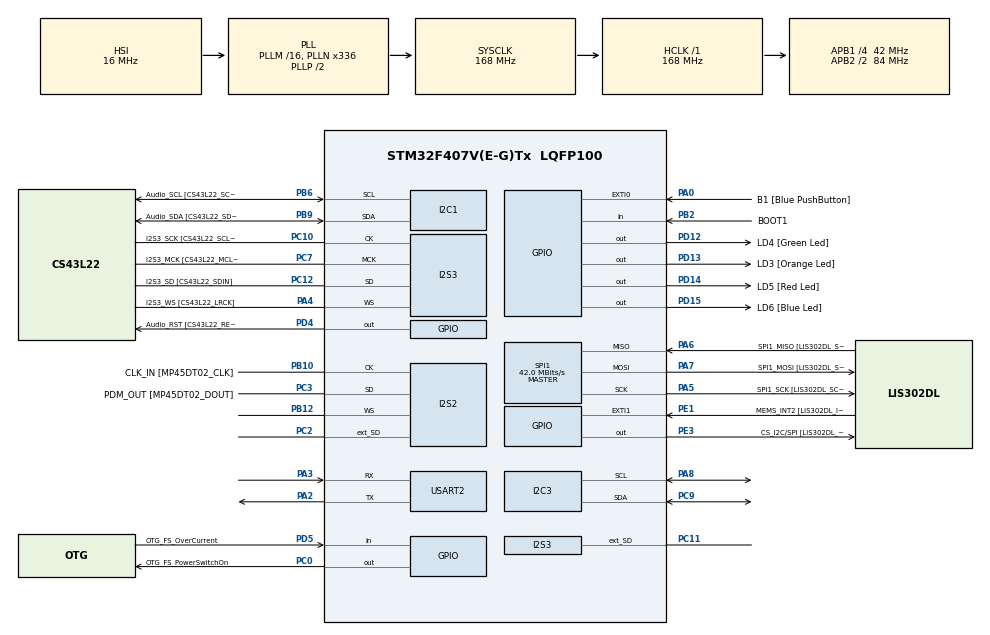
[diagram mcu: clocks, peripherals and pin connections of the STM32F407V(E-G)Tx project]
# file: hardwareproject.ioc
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Dma.Request0=SPI3_TX
Dma.Request1=SPI2_RX
Dma.SPI2_RX.1.Direction=DMA_PERIPH_TO_MEMORY
Dma.SPI2_RX.1.FIFOMode=DMA_FIFOMODE_ENABLE
Dma.SPI2_RX.1.FIFOThreshold=DMA_FIFO_THRESHOLD_FULL
Dma.SPI2_RX.1.Instance=DMA1_Stream3
Dma.SPI2_RX.1.MemBurst=DMA_MBURST_SINGLE
Dma.SPI2_RX.1.MemDataAlignment=DMA_MDATAALIGN_HALFWORD
Dma.SPI2_RX.1.MemInc=DMA_MINC_ENABLE
Dma.SPI2_RX.1.Mode=DMA_NORMAL
Dma.SPI2_RX.1.PeriphBurst=DMA_PBURST_SINGLE
Dma.SPI2_RX.1.PeriphDataAlignment=DMA_PDATAALIGN_HALFWORD
Dma.SPI2_RX.1.PeriphInc=DMA_PINC_DISABLE
Dma.SPI2_RX.1.Priority=DMA_PRIORITY_LOW
Dma.SPI3_TX.0.Direction=DMA_MEMORY_TO_PERIPH
Dma.SPI3_TX.0.FIFOMode=DMA_FIFOMODE_ENABLE
Dma.SPI3_TX.0.FIFOThreshold=DMA_FIFO_THRESHOLD_FULL
Dma.SPI3_TX.0.Instance=DMA1_Stream5
Dma.SPI3_TX.0.MemBurst=DMA_MBURST_INC8
Dma.SPI3_TX.0.MemDataAlignment=DMA_MDATAALIGN_HALFWORD
Dma.SPI3_TX.0.MemInc=DMA_MINC_ENABLE
Dma.SPI3_TX.0.Mode=DMA_NORMAL
Dma.SPI3_TX.0.PeriphBurst=DMA_PBURST_SINGLE
Dma.SPI3_TX.0.PeriphDataAlignment=DMA_PDATAALIGN_HALFWORD
Dma.SPI3_TX.0.PeriphInc=DMA_PINC_DISABLE
Dma.SPI3_TX.0.Priority=DMA_PRIORITY_LOW
I2S2.AudioFreq=I2S_AUDIOFREQ_32K
I2S2.ErrorAudioFreq=-0.01 %
I2S2.FullDuplexMode=I2S_FULLDUPLEXMODE_ENABLE
I2S2.Mode=I2S_MODE_MASTER_RX
I2S2.RealAudioFreq=31.994 KHz
I2S2.Standard=I2S_STANDARD_LSB
I2S3.AudioFreq=I2S_AUDIOFREQ_16K
I2S3.ErrorAudioFreq=-0.01 %
I2S3.FullDuplexMode=I2S_FULLDUPLEXMODE_ENABLE
I2S3.RealAudioFreq=15.997 KHz
I2S3.Standard=I2S_STANDARD_LSB
Mcu.Family=STM32F4
Mcu.Name=STM32F407V(E-G)Tx
Mcu.Package=LQFP100
NVIC.DMA1_Stream3_IRQn=true\:0\:0\:false\:false\:true
NVIC.DMA1_Stream5_IRQn=true\:0\:0\:false\:false\:true
NVIC.PriorityGroup=NVIC_PRIORITYGROUP_0
NVIC.SPI2_IRQn=true\:0\:0\:false\:false\:true
NVIC.USART2_IRQn=true\:0\:0\:false\:false\:true
PA0-WKUP.GPIO_Label=B1 [Blue PushButton]
PA0-WKUP.Signal=GPXTI0
PA10.GPIO_Label=OTG_FS_ID
PA10.GPIO_Mode=GPIO_MODE_AF_PP
PA10.GPIO_PuPd=GPIO_NOPULL
PA10.GPIO_Speed=GPIO_SPEED_FREQ_LOW
PA10.Signal=USB_OTG_FS_ID
PA11.GPIO_Label=OTG_FS_DM
PA11.GPIO_Mode=GPIO_MODE_AF_PP
PA11.GPIO_PuPd=GPIO_NOPULL
PA11.GPIO_Speed=GPIO_SPEED_FREQ_LOW
PA11.Signal=USB_OTG_FS_DM
PA12.GPIO_Label=OTG_FS_DP
PA12.GPIO_Mode=GPIO_MODE_AF_PP
PA12.GPIO_PuPd=GPIO_NOPULL
PA12.GPIO_Speed=GPIO_SPEED_FREQ_LOW
PA12.Signal=USB_OTG_FS_DP
PA13.GPIO_Label=SWDIO
PA13.Signal=SYS_JTMS-SWDIO
PA14.GPIO_Label=SWCLK
PA14.Signal=SYS_JTCK-SWCLK
PA2.Mode=Asynchronous
PA2.Signal=USART2_TX
PA3.Mode=Asynchronous
PA3.Signal=USART2_RX
PA4.GPIO_Label=I2S3_WS [CS43L22_LRCK]
PA4.GPIO_Mode=GPIO_MODE_AF_PP
PA4.GPIO_PuPd=GPIO_NOPULL
PA4.GPIO_Speed=GPIO_SPEED_FREQ_LOW
PA4.Mode=Full_Duplex_Master
PA4.Signal=I2S3_WS
PA5.GPIO_Label=SPI1_SCK [LIS302DL_SCL/SPC]
PA5.GPIO_Mode=GPIO_MODE_AF_PP
PA5.GPIO_PuPd=GPIO_NOPULL
PA5.GPIO_Speed=GPIO_SPEED_FREQ_LOW
PA5.Mode=Full_Duplex_Master
PA5.Signal=SPI1_SCK
PA6.GPIO_Label=SPI1_MISO [LIS302DL_SDO]
PA6.GPIO_Mode=GPIO_MODE_AF_PP
PA6.GPIO_PuPd=GPIO_NOPULL
PA6.GPIO_Speed=GPIO_SPEED_FREQ_LOW
PA6.Mode=Full_Duplex_Master
PA6.Signal=SPI1_MISO
PA7.GPIO_Label=SPI1_MOSI [LIS302DL_SDA/SDI/SDO]
PA7.GPIO_Mode=GPIO_MODE_AF_PP
PA7.GPIO_PuPd=GPIO_NOPULL
PA7.GPIO_Speed=GPIO_SPEED_FREQ_LOW
PA7.Mode=Full_Duplex_Master
PA7.Signal=SPI1_MOSI
PA8.Mode=I2C
PA8.Signal=I2C3_SCL
PA9.GPIO_Label=VBUS_FS
PA9.GPIO_Mode=GPIO_MODE_INPUT
PA9.GPIO_PuPd=GPIO_NOPULL
PA9.Signal=USB_OTG_FS_VBUS
PB10.GPIO_Label=CLK_IN [MP45DT02_CLK]
PB10.GPIO_Mode=GPIO_MODE_AF_PP
PB10.GPIO_PuPd=GPIO_NOPULL
PB10.GPIO_Speed=GPIO_SPEED_FREQ_LOW
PB10.Mode=Full_Duplex_Master
PB10.Signal=I2S2_CK
PB12.Mode=Full_Duplex_Master
PB12.Signal=I2S2_WS
PB2.GPIO_Label=BOOT1
PB2.GPIO_Mode=GPIO_MODE_INPUT
PB2.GPIO_PuPd=GPIO_NOPULL
PB2.Signal=GPIO_Input
PB3.GPIO_Label=SWO
PB3.Signal=SYS_JTDO-SWO
PB6.GPIO_Label=Audio_SCL [CS43L22_SCL]
PB6.GPIO_Mode=GPIO_MODE_AF_OD
PB6.GPIO_PuPd=GPIO_NOPULL
PB6.GPIO_Speed=GPIO_SPEED_FREQ_LOW
PB6.Mode=I2C
PB6.Signal=I2C1_SCL
PB9.GPIO_Label=Audio_SDA [CS43L22_SDA]
PB9.GPIO_Mode=GPIO_MODE_AF_OD
PB9.GPIO_PuPd=GPIO_NOPULL
PB9.GPIO_Speed=GPIO_SPEED_FREQ_LOW
PB9.Mode=I2C
PB9.Signal=I2C1_SDA
PC0.GPIO_Label=OTG_FS_PowerSwitchOn
PC0.GPIO_PuPd=GPIO_NOPULL
PC0.GPIO_Speed=GPIO_SPEED_FREQ_LOW
PC0.PinState=GPIO_PIN_SET
PC0.Signal=GPIO_Output
PC10.GPIO_Label=I2S3_SCK [CS43L22_SCLK]
PC10.GPIO_Mode=GPIO_MODE_AF_PP
PC10.GPIO_PuPd=GPIO_NOPULL
PC10.GPIO_Speed=GPIO_SPEED_FREQ_LOW
PC10.Mode=Full_Duplex_Master
PC10.Signal=I2S3_CK
PC11.Mode=Full_Duplex_Master
PC11.Signal=I2S3_ext_SD
PC12.GPIO_Label=I2S3_SD [CS43L22_SDIN]
PC12.GPIO_Mode=GPIO_MODE_AF_PP
PC12.GPIO_PuPd=GPIO_NOPULL
PC12.GPIO_Speed=GPIO_SPEED_FREQ_LOW
PC12.Mode=Full_Duplex_Master
PC12.Signal=I2S3_SD
PC14-OSC32_IN.GPIO_Label=PC14-OSC32_IN
PC14-OSC32_IN.Signal=RCC_OSC32_IN
PC15-OSC32_OUT.GPIO_Label=PC15-OSC32_OUT
PC15-OSC32_OUT.Signal=RCC_OSC32_OUT
PC2.Mode=Full_Duplex_Master
PC2.Signal=I2S2_ext_SD
PC3.GPIO_Label=PDM_OUT [MP45DT02_DOUT]
PC3.GPIO_Mode=GPIO_MODE_AF_PP
PC3.GPIO_PuPd=GPIO_NOPULL
PC3.GPIO_Speed=GPIO_SPEED_FREQ_LOW
PC3.Mode=Full_Duplex_Master
PC3.Signal=I2S2_SD
PC7.GPIO_Label=I2S3_MCK [CS43L22_MCLK]
PC7.GPIO_Mode=GPIO_MODE_AF_PP
PC7.GPIO_PuPd=GPIO_NOPULL
PC7.GPIO_Speed=GPIO_SPEED_FREQ_LOW
PC7.Mode=Master_Clock_Activated
PC7.Signal=I2S3_MCK
PC9.Mode=I2C
PC9.Signal=I2C3_SDA
PD12.GPIO_Label=LD4 [Green Led]
PD12.GPIO_PuPd=GPIO_NOPULL
PD12.GPIO_Speed=GPIO_SPEED_FREQ_LOW
PD12.Signal=GPIO_Output
PD13.GPIO_Label=LD3 [Orange Led]
PD13.GPIO_PuPd=GPIO_NOPULL
PD13.GPIO_Speed=GPIO_SPEED_FREQ_LOW
PD13.Signal=GPIO_Output
PD14.GPIO_Label=LD5 [Red Led]
PD14.GPIO_PuPd=GPIO_NOPULL
PD14.GPIO_Speed=GPIO_SPEED_FREQ_LOW
PD14.Signal=GPIO_Output
PD15.GPIO_Label=LD6 [Blue Led]
PD15.GPIO_PuPd=GPIO_NOPULL
PD15.GPIO_Speed=GPIO_SPEED_FREQ_LOW
PD15.Signal=GPIO_Output
PD4.GPIO_Label=Audio_RST [CS43L22_RESET]
PD4.GPIO_PuPd=GPIO_NOPULL
PD4.GPIO_Speed=GPIO_SPEED_FREQ_MEDIUM
PD4.Signal=GPIO_Output
PD5.GPIO_Label=OTG_FS_OverCurrent
PD5.GPIO_Mode=GPIO_MODE_INPUT
PD5.GPIO_PuPd=GPIO_NOPULL
PD5.Signal=GPIO_Input
PE1.GPIO_Label=MEMS_INT2 [LIS302DL_INT2]
PE1.GPIO_ModeDefaultEXTI=GPIO_MODE_EVT_RISING
PE1.GPIO_PuPd=GPIO_NOPULL
PE1.Signal=GPXTI1
PE3.GPIO_Label=CS_I2C/SPI [LIS302DL_CS_I2C/SPI]
PE3.GPIO_PuPd=GPIO_NOPULL
PE3.GPIO_Speed=GPIO_SPEED_FREQ_LOW
PE3.Signal=GPIO_Output
PH0-OSC_IN.GPIO_Label=PH0-OSC_IN
PH0-OSC_IN.Signal=RCC_OSC_IN
PH1-OSC_OUT.GPIO_Label=PH1-OSC_OUT
PH1-OSC_OUT.Signal=RCC_OSC_OUT
ProjectManager.HeapSize=0x200
ProjectManager.StackSize=0x400
ProjectManager.TargetToolchain=MDK-ARM V5
RCC.48MHZClocksFreq_Value=48000000
RCC.AHBFreq_Value=168000000
RCC.APB1CLKDivider=RCC_HCLK_DIV4
RCC.APB1Freq_Value=42000000
RCC.APB1TimFreq_Value=84000000
RCC.APB2CLKDivider=RCC_HCLK_DIV2
RCC.APB2Freq_Value=84000000
RCC.APB2TimFreq_Value=168000000
RCC.CortexFreq_Value=168000000
RCC.HCLKFreq_Value=168000000
RCC.HSE_VALUE=8000000
RCC.HSI_VALUE=16000000
RCC.LSE_VALUE=32768
RCC.PLLI2SN=258
RCC.PLLI2SR=3
RCC.PLLN=336
RCC.PLLQ=7
RCC.SYSCLKFreq_VALUE=168000000
RCC.SYSCLKSource=RCC_SYSCLKSOURCE_PLLCLK
RCC.VCOOutputFreq_Value=336000000
SPI1.CalculateBaudRate=42.0 MBits/s
SPI1.Mode=SPI_MODE_MASTER
VP_CRC_VS_CRC.Mode=CRC_Activate
board=STM32F407G-DISC1

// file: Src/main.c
/**
  ******************************************************************************
  * File Name          : main.c
  * Description        : Main program body
  ******************************************************************************
  *
  * COPYRIGHT(c) 2016 STMicroelectronics
  *
  * Redistribution and use in source and binary forms, with or without modification,
  * are permitted provided that the following conditions are met:
  *   1. Redistributions of source code must retain the above copyright notice,
  *      this list of conditions and the following disclaimer.
  *   2. Redistributions in binary form must reproduce the above copyright notice,
  *      this list of conditions and the following disclaimer in the documentation
  *      and/or other materials provided with the distribution.
  *   3. Neither the name of STMicroelectronics nor the names of its contributors
  *      may be used to endorse or promote products derived from this software
  *      without specific prior written permission.
  *
  * THIS SOFTWARE IS PROVIDED BY THE COPYRIGHT HOLDERS AND CONTRIBUTORS "AS IS"
  * AND ANY EXPRESS OR IMPLIED WARRANTIES, INCLUDING, BUT NOT LIMITED TO, THE
  * IMPLIED WARRANTIES OF MERCHANTABILITY AND FITNESS FOR A PARTICULAR PURPOSE ARE
  * DISCLAIMED. IN NO EVENT SHALL THE COPYRIGHT HOLDER OR CONTRIBUTORS BE LIABLE
  * FOR ANY DIRECT, INDIRECT, INCIDENTAL, SPECIAL, EXEMPLARY, OR CONSEQUENTIAL
  * DAMAGES (INCLUDING, BUT NOT LIMITED TO, PROCUREMENT OF SUBSTITUTE GOODS OR
  * SERVICES; LOSS OF USE, DATA, OR PROFITS; OR BUSINESS INTERRUPTION) HOWEVER
  * CAUSED AND ON ANY THEORY OF LIABILITY, WHETHER IN CONTRACT, STRICT LIABILITY,
  * OR TORT (INCLUDING NEGLIGENCE OR OTHERWISE) ARISING IN ANY WAY OUT OF THE USE
  * OF THIS SOFTWARE, EVEN IF ADVISED OF THE POSSIBILITY OF SUCH DAMAGE.
  *
  ******************************************************************************
  */
#include "main.h"
#include "stm32f4xx_hal.h"

/* USER CODE BEGIN Includes */
#include <math.h>
#define LED_BLUE_ON   GPIOD->BSRRL = GPIO_Pin_15;
#define LED_BLUE_OFF  GPIOD->BSRRH = GPIO_Pin_15;

#define PI 3.14159265f

/* USER CODE END Includes */

CRC_HandleTypeDef hcrc;

I2C_HandleTypeDef hi2c1;
I2C_HandleTypeDef hi2c3;

I2S_HandleTypeDef hi2s2;
I2S_HandleTypeDef hi2s3;
DMA_HandleTypeDef hdma_spi2_rx;
DMA_HandleTypeDef hdma_spi3_tx;

SPI_HandleTypeDef hspi1;

UART_HandleTypeDef huart2;

/* USER CODE BEGIN PV */
/* Private variables ---------------------------------------------------------*/
struct acceleration {
  int8_t x, y, z;
} Acceleration;
uint8_t address, data;
/* USER CODE END PV */

void SystemClock_Config(void);
void Error_Handler(void);
static void MX_GPIO_Init(void);
static void MX_DMA_Init(void);
static void MX_I2C1_Init(void);
static void MX_I2C3_Init(void);
static void MX_I2S2_Init(void);
static void MX_I2S3_Init(void);
static void MX_SPI1_Init(void);
static void MX_USART2_UART_Init(void);
static void MX_CRC_Init(void);

/* USER CODE BEGIN PFP */
static void LIS302DL_Init(void);
/* USER CODE END PFP */

/* USER CODE BEGIN 0 */
uint8_t regValue = 0xFF;
uint8_t cmd[10];
uint8_t currentKey = 0;
/* USER CODE END 0 */

int main(void)
{

  /* USER CODE BEGIN 1 */
  char str[100];
  int length;
  /* USER CODE END 1 */

  /* MCU Configuration----------------------------------------------------------*/

  /* Reset of all peripherals, Initializes the Flash interface and the Systick. */
  HAL_Init();

  /* Configure the system clock */
  SystemClock_Config();

  /* Initialize all configured peripherals */
  MX_GPIO_Init();
  MX_DMA_Init();
  MX_I2C1_Init();
  MX_I2C3_Init();
  MX_I2S2_Init();
  MX_I2S3_Init();
  MX_SPI1_Init();
  MX_USART2_UART_Init();
  MX_CRC_Init();

  /* USER CODE BEGIN 2 */
  HAL_UART_Transmit(&huart2,"Start",5,1000);
	LIS302DL_Init();
	// CS43I22_Init();
  // MP45DT02_Init();

  /* USER CODE END 2 */

  /* Infinite loop */
  while (1)
  {

  /* USER CODE BEGIN 3 */
    HAL_GPIO_WritePin(GPIOE,GPIO_PIN_3,GPIO_PIN_RESET);

    address = 0x29+ 0x80;
    HAL_SPI_Transmit(&hspi1, &address, 1, 50);
    HAL_SPI_Receive(&hspi1, &Acceleration.x, 1, 50);

    address = 0x2B+ 0x80;
    HAL_SPI_Transmit(&hspi1, &address, 1, 50);
    HAL_SPI_Receive(&hspi1, &Acceleration.y, 1, 50);

    address = 0x2D+ 0x80;
    HAL_SPI_Transmit(&hspi1, &address, 1, 50);
    HAL_SPI_Receive(&hspi1, &Acceleration.z, 1, 50);

    length = sprintf(str, "x : %d, y : %d, z : %d\n\r", Acceleration.x, Acceleration.y, Acceleration.z);

    HAL_UART_Transmit(&huart2, str, length, 10);

    HAL_GPIO_WritePin(GPIOE,GPIO_PIN_3,GPIO_PIN_SET);
    HAL_Delay(150);
  }
  /* USER CODE END 3 */

}

/** System Clock Configuration
*/
void SystemClock_Config(void)
{

  RCC_OscInitTypeDef RCC_OscInitStruct;
  RCC_ClkInitTypeDef RCC_ClkInitStruct;
  RCC_PeriphCLKInitTypeDef PeriphClkInitStruct;

    /**Configure the main internal regulator output voltage
    */
  __HAL_RCC_PWR_CLK_ENABLE();

  __HAL_PWR_VOLTAGESCALING_CONFIG(PWR_REGULATOR_VOLTAGE_SCALE1);

    /**Initializes the CPU, AHB and APB busses clocks
    */
  RCC_OscInitStruct.OscillatorType = RCC_OSCILLATORTYPE_HSI;
  RCC_OscInitStruct.HSIState = RCC_HSI_ON;
  RCC_OscInitStruct.HSICalibrationValue = 16;
  RCC_OscInitStruct.PLL.PLLState = RCC_PLL_ON;
  RCC_OscInitStruct.PLL.PLLSource = RCC_PLLSOURCE_HSI;
  RCC_OscInitStruct.PLL.PLLM = 16;
  RCC_OscInitStruct.PLL.PLLN = 336;
  RCC_OscInitStruct.PLL.PLLP = RCC_PLLP_DIV2;
  RCC_OscInitStruct.PLL.PLLQ = 7;
  if (HAL_RCC_OscConfig(&RCC_OscInitStruct) != HAL_OK)
  {
    Error_Handler();
  }

    /**Initializes the CPU, AHB and APB busses clocks
    */
  RCC_ClkInitStruct.ClockType = RCC_CLOCKTYPE_HCLK|RCC_CLOCKTYPE_SYSCLK
                              |RCC_CLOCKTYPE_PCLK1|RCC_CLOCKTYPE_PCLK2;
  RCC_ClkInitStruct.SYSCLKSource = RCC_SYSCLKSOURCE_PLLCLK;
  RCC_ClkInitStruct.AHBCLKDivider = RCC_SYSCLK_DIV1;
  RCC_ClkInitStruct.APB1CLKDivider = RCC_HCLK_DIV4;
  RCC_ClkInitStruct.APB2CLKDivider = RCC_HCLK_DIV2;

  if (HAL_RCC_ClockConfig(&RCC_ClkInitStruct, FLASH_LATENCY_5) != HAL_OK)
  {
    Error_Handler();
  }

  PeriphClkInitStruct.PeriphClockSelection = RCC_PERIPHCLK_I2S;
  PeriphClkInitStruct.PLLI2S.PLLI2SN = 258;
  PeriphClkInitStruct.PLLI2S.PLLI2SR = 3;
  if (HAL_RCCEx_PeriphCLKConfig(&PeriphClkInitStruct) != HAL_OK)
  {
    Error_Handler();
  }

    /**Configure the Systick interrupt time
    */
  HAL_SYSTICK_Config(HAL_RCC_GetHCLKFreq()/1000);

    /**Configure the Systick
    */
  HAL_SYSTICK_CLKSourceConfig(SYSTICK_CLKSOURCE_HCLK);

  /* SysTick_IRQn interrupt configuration */
  HAL_NVIC_SetPriority(SysTick_IRQn, 0, 0);
}

/* CRC init function */
static void MX_CRC_Init(void)
{

  hcrc.Instance = CRC;
  if (HAL_CRC_Init(&hcrc) != HAL_OK)
  {
    Error_Handler();
  }

}

/* I2C1 init function */
static void MX_I2C1_Init(void)
{

  hi2c1.Instance = I2C1;
  hi2c1.Init.ClockSpeed = 100000;
  hi2c1.Init.DutyCycle = I2C_DUTYCYCLE_2;
  hi2c1.Init.OwnAddress1 = 0;
  hi2c1.Init.AddressingMode = I2C_ADDRESSINGMODE_7BIT;
  hi2c1.Init.DualAddressMode = I2C_DUALADDRESS_DISABLE;
  hi2c1.Init.OwnAddress2 = 0;
  hi2c1.Init.GeneralCallMode = I2C_GENERALCALL_DISABLE;
  hi2c1.Init.NoStretchMode = I2C_NOSTRETCH_DISABLE;
  if (HAL_I2C_Init(&hi2c1) != HAL_OK)
  {
    Error_Handler();
  }

}

/* I2C3 init function */
static void MX_I2C3_Init(void)
{

  hi2c3.Instance = I2C3;
  hi2c3.Init.ClockSpeed = 100000;
  hi2c3.Init.DutyCycle = I2C_DUTYCYCLE_2;
  hi2c3.Init.OwnAddress1 = 0;
  hi2c3.Init.AddressingMode = I2C_ADDRESSINGMODE_7BIT;
  hi2c3.Init.DualAddressMode = I2C_DUALADDRESS_DISABLE;
  hi2c3.Init.OwnAddress2 = 0;
  hi2c3.Init.GeneralCallMode = I2C_GENERALCALL_DISABLE;
  hi2c3.Init.NoStretchMode = I2C_NOSTRETCH_DISABLE;
  if (HAL_I2C_Init(&hi2c3) != HAL_OK)
  {
    Error_Handler();
  }

}

/* I2S2 init function */
static void MX_I2S2_Init(void)
{

  hi2s2.Instance = SPI2;
  hi2s2.Init.Mode = I2S_MODE_MASTER_RX;
  hi2s2.Init.Standard = I2S_STANDARD_LSB;
  hi2s2.Init.DataFormat = I2S_DATAFORMAT_16B;
  hi2s2.Init.MCLKOutput = I2S_MCLKOUTPUT_DISABLE;
  hi2s2.Init.AudioFreq = I2S_AUDIOFREQ_32K;
  hi2s2.Init.CPOL = I2S_CPOL_LOW;
  hi2s2.Init.ClockSource = I2S_CLOCK_PLL;
  hi2s2.Init.FullDuplexMode = I2S_FULLDUPLEXMODE_ENABLE;
  if (HAL_I2S_Init(&hi2s2) != HAL_OK)
  {
    Error_Handler();
  }

}

/* I2S3 init function */
static void MX_I2S3_Init(void)
{

  hi2s3.Instance = SPI3;
  hi2s3.Init.Mode = I2S_MODE_MASTER_TX;
  hi2s3.Init.Standard = I2S_STANDARD_LSB;
  hi2s3.Init.DataFormat = I2S_DATAFORMAT_16B;
  hi2s3.Init.MCLKOutput = I2S_MCLKOUTPUT_ENABLE;
  hi2s3.Init.AudioFreq = I2S_AUDIOFREQ_16K;
  hi2s3.Init.CPOL = I2S_CPOL_LOW;
  hi2s3.Init.ClockSource = I2S_CLOCK_PLL;
  hi2s3.Init.FullDuplexMode = I2S_FULLDUPLEXMODE_ENABLE;
  if (HAL_I2S_Init(&hi2s3) != HAL_OK)
  {
    Error_Handler();
  }

}

/* SPI1 init function */
static void MX_SPI1_Init(void)
{

  hspi1.Instance = SPI1;
  hspi1.Init.Mode = SPI_MODE_MASTER;
  hspi1.Init.Direction = SPI_DIRECTION_2LINES;
  hspi1.Init.DataSize = SPI_DATASIZE_8BIT;
  hspi1.Init.CLKPolarity = SPI_POLARITY_LOW;
  hspi1.Init.CLKPhase = SPI_PHASE_1EDGE;
  hspi1.Init.NSS = SPI_NSS_SOFT;
  hspi1.Init.BaudRatePrescaler = SPI_BAUDRATEPRESCALER_4;
  hspi1.Init.FirstBit = SPI_FIRSTBIT_MSB;
  hspi1.Init.TIMode = SPI_TIMODE_DISABLE;
  hspi1.Init.CRCCalculation = SPI_CRCCALCULATION_DISABLE;
  hspi1.Init.CRCPolynomial = 10;
  if (HAL_SPI_Init(&hspi1) != HAL_OK)
  {
    Error_Handler();
  }

}

/* USART2 init function */
static void MX_USART2_UART_Init(void)
{

  huart2.Instance = USART2;
  huart2.Init.BaudRate = 115200;
  huart2.Init.WordLength = UART_WORDLENGTH_8B;
  huart2.Init.StopBits = UART_STOPBITS_1;
  huart2.Init.Parity = UART_PARITY_NONE;
  huart2.Init.Mode = UART_MODE_TX_RX;
  huart2.Init.HwFlowCtl = UART_HWCONTROL_NONE;
  huart2.Init.OverSampling = UART_OVERSAMPLING_16;
  if (HAL_UART_Init(&huart2) != HAL_OK)
  {
    Error_Handler();
  }

}

static void MX_DMA_Init(void)
{
  /* DMA controller clock enable */
  __HAL_RCC_DMA1_CLK_ENABLE();

  /* DMA interrupt init */
  /* DMA1_Stream3_IRQn interrupt configuration */
  HAL_NVIC_SetPriority(DMA1_Stream3_IRQn, 0, 0);
  HAL_NVIC_EnableIRQ(DMA1_Stream3_IRQn);
  /* DMA1_Stream5_IRQn interrupt configuration */
  HAL_NVIC_SetPriority(DMA1_Stream5_IRQn, 0, 0);
  HAL_NVIC_EnableIRQ(DMA1_Stream5_IRQn);

}

/** Configure pins as
        * Analog
        * Input
        * Output
        * EVENT_OUT
        * EXTI
     PA9   ------> USB_OTG_FS_VBUS
     PA10   ------> USB_OTG_FS_ID
     PA11   ------> USB_OTG_FS_DM
     PA12   ------> USB_OTG_FS_DP
*/
static void MX_GPIO_Init(void)
{

  GPIO_InitTypeDef GPIO_InitStruct;

  /* GPIO Ports Clock Enable */
  __HAL_RCC_GPIOE_CLK_ENABLE();
  __HAL_RCC_GPIOC_CLK_ENABLE();
  __HAL_RCC_GPIOH_CLK_ENABLE();
  __HAL_RCC_GPIOA_CLK_ENABLE();
  __HAL_RCC_GPIOB_CLK_ENABLE();
  __HAL_RCC_GPIOD_CLK_ENABLE();

  /*Configure GPIO pin Output Level */
  HAL_GPIO_WritePin(CS_I2C_SPI_GPIO_Port, CS_I2C_SPI_Pin, GPIO_PIN_RESET);

  /*Configure GPIO pin Output Level */
  HAL_GPIO_WritePin(OTG_FS_PowerSwitchOn_GPIO_Port, OTG_FS_PowerSwitchOn_Pin, GPIO_PIN_SET);

  /*Configure GPIO pin Output Level */
  HAL_GPIO_WritePin(GPIOD, LD4_Pin|LD3_Pin|LD5_Pin|LD6_Pin
                          |Audio_RST_Pin, GPIO_PIN_RESET);

  /*Configure GPIO pin : CS_I2C_SPI_Pin */
  GPIO_InitStruct.Pin = CS_I2C_SPI_Pin;
  GPIO_InitStruct.Mode = GPIO_MODE_OUTPUT_PP;
  GPIO_InitStruct.Pull = GPIO_NOPULL;
  GPIO_InitStruct.Speed = GPIO_SPEED_FREQ_LOW;
  HAL_GPIO_Init(CS_I2C_SPI_GPIO_Port, &GPIO_InitStruct);

  /*Configure GPIO pin : OTG_FS_PowerSwitchOn_Pin */
  GPIO_InitStruct.Pin = OTG_FS_PowerSwitchOn_Pin;
  GPIO_InitStruct.Mode = GPIO_MODE_OUTPUT_PP;
  GPIO_InitStruct.Pull = GPIO_NOPULL;
  GPIO_InitStruct.Speed = GPIO_SPEED_FREQ_LOW;
  HAL_GPIO_Init(OTG_FS_PowerSwitchOn_GPIO_Port, &GPIO_InitStruct);

  /*Configure GPIO pin : B1_Pin */
  GPIO_InitStruct.Pin = B1_Pin;
  GPIO_InitStruct.Mode = GPIO_MODE_IT_RISING;
  GPIO_InitStruct.Pull = GPIO_NOPULL;
  HAL_GPIO_Init(B1_GPIO_Port, &GPIO_InitStruct);

  /*Configure GPIO pin : BOOT1_Pin */
  GPIO_InitStruct.Pin = BOOT1_Pin;
  GPIO_InitStruct.Mode = GPIO_MODE_INPUT;
  GPIO_InitStruct.Pull = GPIO_NOPULL;
  HAL_GPIO_Init(BOOT1_GPIO_Port, &GPIO_InitStruct);

  /*Configure GPIO pins : LD4_Pin LD3_Pin LD5_Pin LD6_Pin */
  GPIO_InitStruct.Pin = LD4_Pin|LD3_Pin|LD5_Pin|LD6_Pin;
  GPIO_InitStruct.Mode = GPIO_MODE_OUTPUT_PP;
  GPIO_InitStruct.Pull = GPIO_NOPULL;
  GPIO_InitStruct.Speed = GPIO_SPEED_FREQ_LOW;
  HAL_GPIO_Init(GPIOD, &GPIO_InitStruct);

  /*Configure GPIO pin : VBUS_FS_Pin */
  GPIO_InitStruct.Pin = VBUS_FS_Pin;
  GPIO_InitStruct.Mode = GPIO_MODE_INPUT;
  GPIO_InitStruct.Pull = GPIO_NOPULL;
  HAL_GPIO_Init(VBUS_FS_GPIO_Port, &GPIO_InitStruct);

  /*Configure GPIO pins : OTG_FS_ID_Pin OTG_FS_DM_Pin OTG_FS_DP_Pin */
  GPIO_InitStruct.Pin = OTG_FS_ID_Pin|OTG_FS_DM_Pin|OTG_FS_DP_Pin;
  GPIO_InitStruct.Mode = GPIO_MODE_AF_PP;
  GPIO_InitStruct.Pull = GPIO_NOPULL;
  GPIO_InitStruct.Speed = GPIO_SPEED_FREQ_LOW;
  GPIO_InitStruct.Alternate = GPIO_AF10_OTG_FS;
  HAL_GPIO_Init(GPIOA, &GPIO_InitStruct);

  /*Configure GPIO pin : Audio_RST_Pin */
  GPIO_InitStruct.Pin = Audio_RST_Pin;
  GPIO_InitStruct.Mode = GPIO_MODE_OUTPUT_PP;
  GPIO_InitStruct.Pull = GPIO_NOPULL;
  GPIO_InitStruct.Speed = GPIO_SPEED_FREQ_MEDIUM;
  HAL_GPIO_Init(Audio_RST_GPIO_Port, &GPIO_InitStruct);

  /*Configure GPIO pin : OTG_FS_OverCurrent_Pin */
  GPIO_InitStruct.Pin = OTG_FS_OverCurrent_Pin;
  GPIO_InitStruct.Mode = GPIO_MODE_INPUT;
  GPIO_InitStruct.Pull = GPIO_NOPULL;
  HAL_GPIO_Init(OTG_FS_OverCurrent_GPIO_Port, &GPIO_InitStruct);

  /*Configure GPIO pin : MEMS_INT2_Pin */
  GPIO_InitStruct.Pin = MEMS_INT2_Pin;
  GPIO_InitStruct.Mode = GPIO_MODE_EVT_RISING;
  GPIO_InitStruct.Pull = GPIO_NOPULL;
  HAL_GPIO_Init(MEMS_INT2_GPIO_Port, &GPIO_InitStruct);

}

/* USER CODE BEGIN 4 */
static void LIS302DL_Init(void) {
  HAL_GPIO_WritePin(GPIOE,GPIO_PIN_3,GPIO_PIN_RESET);

	address = 0x20;
	data = 0x47;

  HAL_SPI_Transmit(&hspi1, &address, 1, 50);
  HAL_SPI_Transmit(&hspi1, &data, 1, 50);

  HAL_GPIO_WritePin(GPIOE,GPIO_PIN_3,GPIO_PIN_SET);
}
/* USER CODE END 4 */

void Error_Handler(void)
{
  while(1)
  {
  }
}

/************************ (C) COPYRIGHT STMicroelectronics *****END OF FILE****/
